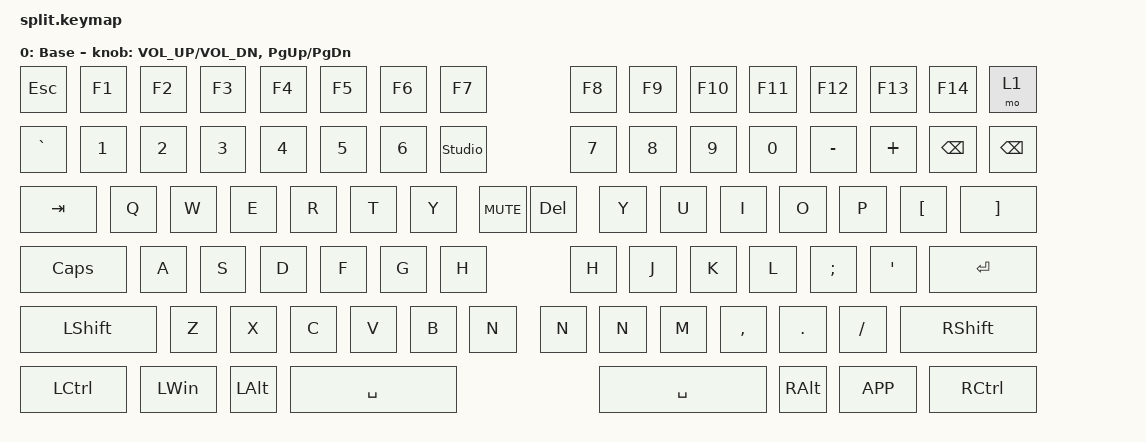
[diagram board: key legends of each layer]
#include <behaviors.dtsi>
#include <dt-bindings/zmk/keys.h>

/ {
    keymap0: keymap0 {
        compatible = "zmk,keymap";

        default_layer { // Layer 0
            display-name = "Base";
            bindings = <
                &kp ESC    &kp F1       &kp F2       &kp F3       &kp F4       &kp F5       &kp F6       &kp F7             &kp F8        &kp F9        &kp F10       &kp F11       &kp F12       &kp F13       &kp F14       &mo 1
                &kp GRAVE  &kp NUMBER_1 &kp NUMBER_2 &kp NUMBER_3 &kp NUMBER_4 &kp NUMBER_5 &kp NUMBER_6 &studio_unlock     &kp NUMBER_7  &kp NUMBER_8  &kp NUMBER_9  &kp NUMBER_0  &kp MINUS     &kp PLUS      &kp BACKSPACE &kp BACKSPACE
                &kp TAB    &kp Q        &kp W        &kp E        &kp R        &kp T        &kp Y        &kp C_MUTE         &kp DELETE    &kp Y         &kp U         &kp I         &kp O         &kp P         &kp LBKT      &kp RBKT
                           &kp CAPSLOCK &kp A        &kp S        &kp D        &kp F        &kp G        &kp H              &kp H         &kp J         &kp K         &kp L         &kp SEMICOLON &kp SQT       &kp ENTER
                           &kp LSHIFT   &kp Z        &kp X        &kp C        &kp V        &kp B        &kp N              &kp N         &kp N         &kp M         &kp COMMA     &kp PERIOD    &kp SLASH     &kp RSHIFT
                                                                  &kp LCTRL   &kp LEFT_WIN  &kp LEFT_ALT &kp SPACE          &kp SPACE     &kp RIGHT_ALT &kp K_APP     &kp RCTRL
            >;

            sensor-bindings = <&inc_dec_kp C_VOL_UP C_VOL_DN &inc_dec_kp PG_UP PG_DN>;
        };

        extra1 {
            status = "reserved";
        };

        extra2 {
            status = "reserved";
        };

        extra3 {
            status = "reserved";
        };

        extra4 {
            status = "reserved";
        };

        extra5 {
            status = "reserved";
        };

        extra6 {
            status = "reserved";
        };

        extra7 {
            status = "reserved";
        };
    };
};
